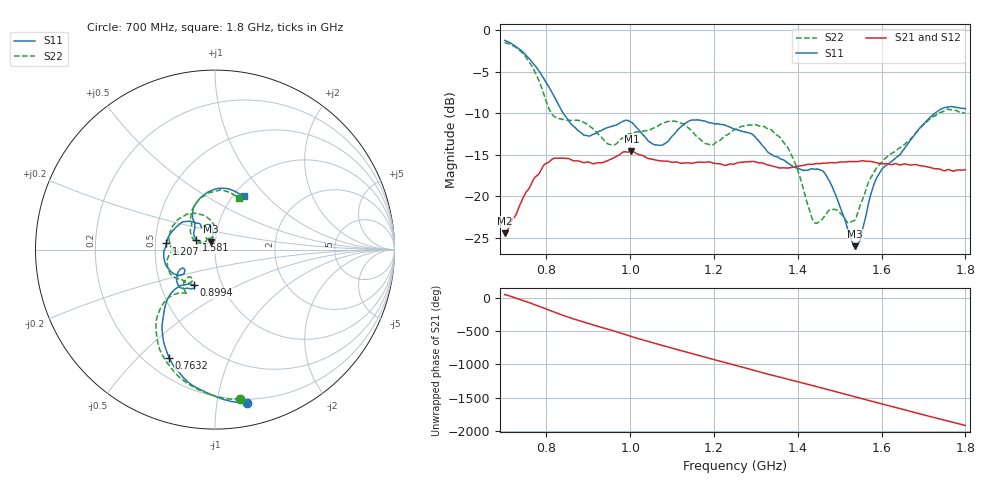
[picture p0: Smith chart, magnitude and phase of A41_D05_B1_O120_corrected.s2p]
! Created with skrf 1.9.0 (http://scikit-rf.org).
# Hz S RI R 50.0
!freq ReS11 ImS11 ReS21 ImS21 ReS12 ImS12 ReS22 ImS22
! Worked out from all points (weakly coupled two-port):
!   1601 points, 700 MHz to 1.8 GHz, reference 50 ohm
!   highest |S21| = -14.57 dB at 1.002 GHz (marker M1); lowest = -24.5 dB at 701.4 MHz (marker M2)
!   lowest |S11| = -26.0 dB at 1.537 GHz (marker M3), VSWR 1.10, Z = 47.5 + j4.2 ohm
!   |S11| at or under -10 dB: 840 MHz to 1.727 GHz (887.3 MHz wide, 69.1 % of centre)
!   |S22| runs from -23.3 to -1.5 dB; largest |S21 - S12| = 0.0035
!   S11 on the Smith chart (normalised r, x): 700 MHz: 0.17, -1.21; 763.2 MHz: 0.29, -0.62; 899.4 MHz: 0.73, -0.31; 1.207 GHz: 0.57, +0.04; 1.581 GHz: 0.81, +0.09; 1.8 GHz: 1.12, +0.75
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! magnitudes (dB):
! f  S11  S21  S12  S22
! 700 MHz  -1.2  -24.5  -24.3  -1.5
! 701.4 MHz  -1.2  -24.5  -24.1  -1.5
! 763.2 MHz  -3.7  -18.6  -18.6  -4.1
! 815.5 MHz  -7.7  -15.5  -15.6  -10.2
! 883.6 MHz  -12.4  -15.9  -15.8  -11.0
! 899.4 MHz  -12.7  -15.9  -15.9  -11.4
! 952.3 MHz  -11.6  -15.6  -15.6  -13.8
! 1.002 GHz  -11.1  -14.6  -14.7  -12.5
! 1.067 GHz  -13.9  -15.7  -15.7  -11.5
! 1.143 GHz  -10.9  -16.0  -16.0  -11.9
! 1.207 GHz  -11.3  -16.1  -16.1  -13.4
! 1.25 GHz  -11.9  -16.1  -16.0  -12.0
! 1.358 GHz  -15.5  -16.6  -16.5  -12.9
! 1.394 GHz  -16.6  -16.5  -16.4  -16.1
! 1.434 GHz  -16.7  -16.2  -16.1  -22.6
! 1.471 GHz  -17.9  -16.0  -16.0  -21.9
! 1.537 GHz  -26.0  -15.8  -15.8  -22.9
! 1.549 GHz  -25.2  -15.8  -15.8  -21.1
! 1.581 GHz  -18.6  -15.9  -15.9  -17.1
! 1.617 GHz  -16.1  -16.1  -16.1  -15.1
! 1.733 GHz  -9.8  -16.7  -16.7  -10.1
! 1.8 GHz  -9.4  -16.8  -16.8  -10.0
